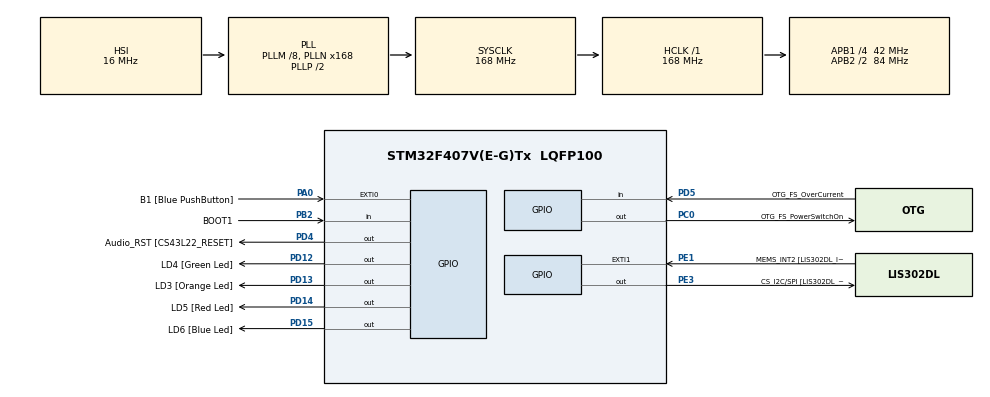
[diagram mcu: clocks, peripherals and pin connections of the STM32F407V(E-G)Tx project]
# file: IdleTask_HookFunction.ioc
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Mcu.Family=STM32F4
Mcu.Name=STM32F407V(E-G)Tx
Mcu.Package=LQFP100
NVIC.PriorityGroup=NVIC_PRIORITYGROUP_4
NVIC.TIM6_DAC_IRQn=true\:0\:0\:false\:false\:true\:false\:true
NVIC.TimeBase=TIM6_DAC_IRQn
NVIC.TimeBaseIP=TIM6
PA0-WKUP.GPIO_Label=B1 [Blue PushButton]
PA0-WKUP.GPIO_ModeDefaultEXTI=GPIO_MODE_EVT_RISING
PA0-WKUP.GPIO_PuPd=GPIO_NOPULL
PA0-WKUP.Signal=GPXTI0
PA10.GPIO_Label=OTG_FS_ID
PA10.GPIO_Mode=GPIO_MODE_AF_PP
PA10.GPIO_PuPd=GPIO_NOPULL
PA10.GPIO_Speed=GPIO_SPEED_FREQ_LOW
PA10.Signal=USB_OTG_FS_ID
PA11.GPIO_Label=OTG_FS_DM
PA11.GPIO_Mode=GPIO_MODE_AF_PP
PA11.GPIO_PuPd=GPIO_NOPULL
PA11.GPIO_Speed=GPIO_SPEED_FREQ_LOW
PA11.Signal=USB_OTG_FS_DM
PA12.GPIO_Label=OTG_FS_DP
PA12.GPIO_Mode=GPIO_MODE_AF_PP
PA12.GPIO_PuPd=GPIO_NOPULL
PA12.GPIO_Speed=GPIO_SPEED_FREQ_LOW
PA12.Signal=USB_OTG_FS_DP
PA13.GPIO_Label=SWDIO
PA13.Signal=SYS_JTMS-SWDIO
PA14.GPIO_Label=SWCLK
PA14.Signal=SYS_JTCK-SWCLK
PA4.GPIO_Label=I2S3_WS [CS43L22_LRCK]
PA4.GPIO_Mode=GPIO_MODE_AF_PP
PA4.GPIO_PuPd=GPIO_NOPULL
PA4.GPIO_Speed=GPIO_SPEED_FREQ_LOW
PA4.Signal=I2S3_WS
PA5.GPIO_Label=SPI1_SCK [LIS302DL_SCL/SPC]
PA5.GPIO_Mode=GPIO_MODE_AF_PP
PA5.GPIO_PuPd=GPIO_NOPULL
PA5.GPIO_Speed=GPIO_SPEED_FREQ_LOW
PA5.Signal=SPI1_SCK
PA6.GPIO_Label=SPI1_MISO [LIS302DL_SDO]
PA6.GPIO_Mode=GPIO_MODE_AF_PP
PA6.GPIO_PuPd=GPIO_NOPULL
PA6.GPIO_Speed=GPIO_SPEED_FREQ_LOW
PA6.Signal=SPI1_MISO
PA7.GPIO_Label=SPI1_MOSI [LIS302DL_SDA/SDI/SDO]
PA7.GPIO_Mode=GPIO_MODE_AF_PP
PA7.GPIO_PuPd=GPIO_NOPULL
PA7.GPIO_Speed=GPIO_SPEED_FREQ_LOW
PA7.Signal=SPI1_MOSI
PA9.GPIO_Label=VBUS_FS
PA9.GPIO_Mode=GPIO_MODE_INPUT
PA9.GPIO_PuPd=GPIO_NOPULL
PA9.Signal=USB_OTG_FS_VBUS
PB10.GPIO_Label=CLK_IN [MP45DT02_CLK]
PB10.GPIO_Mode=GPIO_MODE_AF_PP
PB10.GPIO_PuPd=GPIO_NOPULL
PB10.GPIO_Speed=GPIO_SPEED_FREQ_LOW
PB10.Signal=I2S2_CK
PB2.GPIO_Label=BOOT1
PB2.GPIO_Mode=GPIO_MODE_INPUT
PB2.GPIO_PuPd=GPIO_NOPULL
PB2.Signal=GPIO_Input
PB3.GPIO_Label=SWO
PB3.Signal=SYS_JTDO-SWO
PB6.GPIO_Label=Audio_SCL [CS43L22_SCL]
PB6.GPIO_Mode=GPIO_MODE_AF_OD
PB6.GPIO_PuPd=GPIO_NOPULL
PB6.GPIO_Speed=GPIO_SPEED_FREQ_LOW
PB6.Signal=I2C1_SCL
PB9.GPIO_Label=Audio_SDA [CS43L22_SDA]
PB9.GPIO_Mode=GPIO_MODE_AF_OD
PB9.GPIO_PuPd=GPIO_NOPULL
PB9.GPIO_Speed=GPIO_SPEED_FREQ_LOW
PB9.Signal=I2C1_SDA
PC0.GPIO_Label=OTG_FS_PowerSwitchOn
PC0.GPIO_PuPd=GPIO_NOPULL
PC0.GPIO_Speed=GPIO_SPEED_FREQ_LOW
PC0.PinState=GPIO_PIN_SET
PC0.Signal=GPIO_Output
PC10.GPIO_Label=I2S3_SCK [CS43L22_SCLK]
PC10.GPIO_Mode=GPIO_MODE_AF_PP
PC10.GPIO_PuPd=GPIO_NOPULL
PC10.GPIO_Speed=GPIO_SPEED_FREQ_LOW
PC10.Signal=I2S3_CK
PC12.GPIO_Label=I2S3_SD [CS43L22_SDIN]
PC12.GPIO_Mode=GPIO_MODE_AF_PP
PC12.GPIO_PuPd=GPIO_NOPULL
PC12.GPIO_Speed=GPIO_SPEED_FREQ_LOW
PC12.Signal=I2S3_SD
PC14-OSC32_IN.GPIO_Label=PC14-OSC32_IN
PC14-OSC32_IN.Signal=RCC_OSC32_IN
PC15-OSC32_OUT.GPIO_Label=PC15-OSC32_OUT
PC15-OSC32_OUT.Signal=RCC_OSC32_OUT
PC3.GPIO_Label=PDM_OUT [MP45DT02_DOUT]
PC3.GPIO_Mode=GPIO_MODE_AF_PP
PC3.GPIO_PuPd=GPIO_NOPULL
PC3.GPIO_Speed=GPIO_SPEED_FREQ_LOW
PC3.Signal=I2S2_SD
PC7.GPIO_Label=I2S3_MCK [CS43L22_MCLK]
PC7.GPIO_Mode=GPIO_MODE_AF_PP
PC7.GPIO_PuPd=GPIO_NOPULL
PC7.GPIO_Speed=GPIO_SPEED_FREQ_LOW
PC7.Signal=I2S3_MCK
PD12.GPIO_Label=LD4 [Green Led]
PD12.GPIO_PuPd=GPIO_NOPULL
PD12.GPIO_Speed=GPIO_SPEED_FREQ_LOW
PD12.Signal=GPIO_Output
PD13.GPIO_Label=LD3 [Orange Led]
PD13.GPIO_PuPd=GPIO_NOPULL
PD13.GPIO_Speed=GPIO_SPEED_FREQ_LOW
PD13.Signal=GPIO_Output
PD14.GPIO_Label=LD5 [Red Led]
PD14.GPIO_PuPd=GPIO_NOPULL
PD14.GPIO_Speed=GPIO_SPEED_FREQ_LOW
PD14.Signal=GPIO_Output
PD15.GPIO_Label=LD6 [Blue Led]
PD15.GPIO_PuPd=GPIO_NOPULL
PD15.GPIO_Speed=GPIO_SPEED_FREQ_LOW
PD15.Signal=GPIO_Output
PD4.GPIO_Label=Audio_RST [CS43L22_RESET]
PD4.GPIO_PuPd=GPIO_NOPULL
PD4.GPIO_Speed=GPIO_SPEED_FREQ_LOW
PD4.Signal=GPIO_Output
PD5.GPIO_Label=OTG_FS_OverCurrent
PD5.GPIO_Mode=GPIO_MODE_INPUT
PD5.GPIO_PuPd=GPIO_NOPULL
PD5.Signal=GPIO_Input
PE1.GPIO_Label=MEMS_INT2 [LIS302DL_INT2]
PE1.GPIO_ModeDefaultEXTI=GPIO_MODE_EVT_RISING
PE1.GPIO_PuPd=GPIO_NOPULL
PE1.Signal=GPXTI1
PE3.GPIO_Label=CS_I2C/SPI [LIS302DL_CS_I2C/SPI]
PE3.GPIO_PuPd=GPIO_NOPULL
PE3.GPIO_Speed=GPIO_SPEED_FREQ_LOW
PE3.Signal=GPIO_Output
PH0-OSC_IN.GPIO_Label=PH0-OSC_IN
PH0-OSC_IN.Signal=RCC_OSC_IN
PH1-OSC_OUT.GPIO_Label=PH1-OSC_OUT
PH1-OSC_OUT.Signal=RCC_OSC_OUT
ProjectManager.HeapSize=0x200
ProjectManager.StackSize=0x400
ProjectManager.TargetToolchain=STM32CubeIDE
RCC.48MHZClocksFreq_Value=48000000
RCC.AHBFreq_Value=168000000
RCC.APB1CLKDivider=RCC_HCLK_DIV4
RCC.APB1Freq_Value=42000000
RCC.APB1TimFreq_Value=84000000
RCC.APB2CLKDivider=RCC_HCLK_DIV2
RCC.APB2Freq_Value=84000000
RCC.APB2TimFreq_Value=168000000
RCC.CortexFreq_Value=168000000
RCC.HCLKFreq_Value=168000000
RCC.HSE_VALUE=8000000
RCC.HSI_VALUE=16000000
RCC.LSE_VALUE=32768
RCC.PLLM=8
RCC.PLLN=168
RCC.PLLQ=7
RCC.SYSCLKFreq_VALUE=168000000
RCC.SYSCLKSource=RCC_SYSCLKSOURCE_PLLCLK
RCC.VCOOutputFreq_Value=336000000
VP_SYS_VS_tim6.Mode=TIM6
board=STM32F4DISCOVERY

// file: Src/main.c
/* USER CODE BEGIN Header */
/**
  ******************************************************************************
  * @file           : main.c
  * @brief          : Main program body
  ******************************************************************************
  * @attention
  *
  * <h2><center>&copy; Copyright (c) 2024 STMicroelectronics.
  * All rights reserved.</center></h2>
  *
  * This software component is licensed by ST under BSD 3-Clause license,
  * the "License"; You may not use this file except in compliance with the
  * License. You may obtain a copy of the License at:
  *                        opensource.org/licenses/BSD-3-Clause
  *
  ******************************************************************************
  */
/* USER CODE END Header */

#include "main.h"

/* USER CODE BEGIN Includes */
#include "FreeRTOS.h"
#include "task.h"
/* USER CODE END Includes */

/* USER CODE BEGIN PV */
#define DWT_CTRL    (*(volatile uint32_t*)0xE0001000)
/* USER CODE END PV */

void SystemClock_Config(void);
static void MX_GPIO_Init(void);
/* USER CODE BEGIN PFP */
static void led_green_handler(void *parameters);
static void led_red_handler(void *parameters);
static void led_orange_handler(void *parameters);

extern void SEGGER_UART_init(uint32_t);
/* USER CODE END PFP */

int main(void)
{
  /* USER CODE BEGIN 1 */
	TaskHandle_t task1_handle;
  TaskHandle_t task2_handle;
  TaskHandle_t task3_handle;

  BaseType_t status;
  /* USER CODE END 1 */

  /* MCU Configuration--------------------------------------------------------*/

  /* Reset of all peripherals, Initializes the Flash interface and the Systick. */
  HAL_Init();

  /* Configure the system clock */
  SystemClock_Config();

  /* Initialize all configured peripherals */
  MX_GPIO_Init();
  /* USER CODE BEGIN 2 */
  SEGGER_UART_init(500000);

  //CYCLCNT enable
   DWT_CTRL |= ( 1 << 0);

   SEGGER_SYSVIEW_Conf();

//   SEGGER_SYSVIEW_Start();

	status = xTaskCreate(led_green_handler, "LED_green_task", 200, NULL, 2, &task1_handle);
  configASSERT(status == pdPASS);

  status = xTaskCreate(led_red_handler, "LED_red_task", 200, NULL, 2, &task2_handle);
  configASSERT(status == pdPASS);

  status = xTaskCreate(led_orange_handler, "LED_orange_task", 200, NULL, 2, &task3_handle);
  configASSERT(status == pdPASS);

  // Start the FreeRTOS scheduler
  vTaskStartScheduler();
  /* USER CODE END 2 */

  /* Infinite loop */
  while (1)
  {

  }
}

void SystemClock_Config(void)
{
  RCC_OscInitTypeDef RCC_OscInitStruct = {0};
  RCC_ClkInitTypeDef RCC_ClkInitStruct = {0};

  /** Configure the main internal regulator output voltage
  */
  __HAL_RCC_PWR_CLK_ENABLE();
  __HAL_PWR_VOLTAGESCALING_CONFIG(PWR_REGULATOR_VOLTAGE_SCALE1);
  /** Initializes the CPU, AHB and APB busses clocks
  */
  RCC_OscInitStruct.OscillatorType = RCC_OSCILLATORTYPE_HSI;
  RCC_OscInitStruct.HSIState = RCC_HSI_ON;
  RCC_OscInitStruct.HSICalibrationValue = RCC_HSICALIBRATION_DEFAULT;
  RCC_OscInitStruct.PLL.PLLState = RCC_PLL_ON;
  RCC_OscInitStruct.PLL.PLLSource = RCC_PLLSOURCE_HSI;
  RCC_OscInitStruct.PLL.PLLM = 8;
  RCC_OscInitStruct.PLL.PLLN = 168;
  RCC_OscInitStruct.PLL.PLLP = RCC_PLLP_DIV2;
  RCC_OscInitStruct.PLL.PLLQ = 7;
  if (HAL_RCC_OscConfig(&RCC_OscInitStruct) != HAL_OK)
  {
    Error_Handler();
  }
  /** Initializes the CPU, AHB and APB busses clocks
  */
  RCC_ClkInitStruct.ClockType = RCC_CLOCKTYPE_HCLK|RCC_CLOCKTYPE_SYSCLK
                              |RCC_CLOCKTYPE_PCLK1|RCC_CLOCKTYPE_PCLK2;
  RCC_ClkInitStruct.SYSCLKSource = RCC_SYSCLKSOURCE_PLLCLK;
  RCC_ClkInitStruct.AHBCLKDivider = RCC_SYSCLK_DIV1;
  RCC_ClkInitStruct.APB1CLKDivider = RCC_HCLK_DIV4;
  RCC_ClkInitStruct.APB2CLKDivider = RCC_HCLK_DIV2;

  if (HAL_RCC_ClockConfig(&RCC_ClkInitStruct, FLASH_LATENCY_5) != HAL_OK)
  {
    Error_Handler();
  }
}

static void MX_GPIO_Init(void)
{
  GPIO_InitTypeDef GPIO_InitStruct = {0};

  /* GPIO Ports Clock Enable */
  __HAL_RCC_GPIOE_CLK_ENABLE();
  __HAL_RCC_GPIOC_CLK_ENABLE();
  __HAL_RCC_GPIOH_CLK_ENABLE();
  __HAL_RCC_GPIOA_CLK_ENABLE();
  __HAL_RCC_GPIOB_CLK_ENABLE();
  __HAL_RCC_GPIOD_CLK_ENABLE();

  /*Configure GPIO pin Output Level */
  HAL_GPIO_WritePin(CS_I2C_SPI_GPIO_Port, CS_I2C_SPI_Pin, GPIO_PIN_RESET);

  /*Configure GPIO pin Output Level */
  HAL_GPIO_WritePin(OTG_FS_PowerSwitchOn_GPIO_Port, OTG_FS_PowerSwitchOn_Pin, GPIO_PIN_SET);

  /*Configure GPIO pin Output Level */
  HAL_GPIO_WritePin(GPIOD, LD4_Pin|LD3_Pin|LD5_Pin|LD6_Pin
                          |Audio_RST_Pin, GPIO_PIN_RESET);

  /*Configure GPIO pin : CS_I2C_SPI_Pin */
  GPIO_InitStruct.Pin = CS_I2C_SPI_Pin;
  GPIO_InitStruct.Mode = GPIO_MODE_OUTPUT_PP;
  GPIO_InitStruct.Pull = GPIO_NOPULL;
  GPIO_InitStruct.Speed = GPIO_SPEED_FREQ_LOW;
  HAL_GPIO_Init(CS_I2C_SPI_GPIO_Port, &GPIO_InitStruct);

  /*Configure GPIO pin : OTG_FS_PowerSwitchOn_Pin */
  GPIO_InitStruct.Pin = OTG_FS_PowerSwitchOn_Pin;
  GPIO_InitStruct.Mode = GPIO_MODE_OUTPUT_PP;
  GPIO_InitStruct.Pull = GPIO_NOPULL;
  GPIO_InitStruct.Speed = GPIO_SPEED_FREQ_LOW;
  HAL_GPIO_Init(OTG_FS_PowerSwitchOn_GPIO_Port, &GPIO_InitStruct);

  /*Configure GPIO pin : PDM_OUT_Pin */
  GPIO_InitStruct.Pin = PDM_OUT_Pin;
  GPIO_InitStruct.Mode = GPIO_MODE_AF_PP;
  GPIO_InitStruct.Pull = GPIO_NOPULL;
  GPIO_InitStruct.Speed = GPIO_SPEED_FREQ_LOW;
  GPIO_InitStruct.Alternate = GPIO_AF5_SPI2;
  HAL_GPIO_Init(PDM_OUT_GPIO_Port, &GPIO_InitStruct);

  /*Configure GPIO pin : B1_Pin */
  GPIO_InitStruct.Pin = B1_Pin;
  GPIO_InitStruct.Mode = GPIO_MODE_EVT_RISING;
  GPIO_InitStruct.Pull = GPIO_NOPULL;
  HAL_GPIO_Init(B1_GPIO_Port, &GPIO_InitStruct);

  /*Configure GPIO pin : I2S3_WS_Pin */
  GPIO_InitStruct.Pin = I2S3_WS_Pin;
  GPIO_InitStruct.Mode = GPIO_MODE_AF_PP;
  GPIO_InitStruct.Pull = GPIO_NOPULL;
  GPIO_InitStruct.Speed = GPIO_SPEED_FREQ_LOW;
  GPIO_InitStruct.Alternate = GPIO_AF6_SPI3;
  HAL_GPIO_Init(I2S3_WS_GPIO_Port, &GPIO_InitStruct);

  /*Configure GPIO pins : SPI1_SCK_Pin SPI1_MISO_Pin SPI1_MOSI_Pin */
  GPIO_InitStruct.Pin = SPI1_SCK_Pin|SPI1_MISO_Pin|SPI1_MOSI_Pin;
  GPIO_InitStruct.Mode = GPIO_MODE_AF_PP;
  GPIO_InitStruct.Pull = GPIO_NOPULL;
  GPIO_InitStruct.Speed = GPIO_SPEED_FREQ_LOW;
  GPIO_InitStruct.Alternate = GPIO_AF5_SPI1;
  HAL_GPIO_Init(GPIOA, &GPIO_InitStruct);

  /*Configure GPIO pin : BOOT1_Pin */
  GPIO_InitStruct.Pin = BOOT1_Pin;
  GPIO_InitStruct.Mode = GPIO_MODE_INPUT;
  GPIO_InitStruct.Pull = GPIO_NOPULL;
  HAL_GPIO_Init(BOOT1_GPIO_Port, &GPIO_InitStruct);

  /*Configure GPIO pin : CLK_IN_Pin */
  GPIO_InitStruct.Pin = CLK_IN_Pin;
  GPIO_InitStruct.Mode = GPIO_MODE_AF_PP;
  GPIO_InitStruct.Pull = GPIO_NOPULL;
  GPIO_InitStruct.Speed = GPIO_SPEED_FREQ_LOW;
  GPIO_InitStruct.Alternate = GPIO_AF5_SPI2;
  HAL_GPIO_Init(CLK_IN_GPIO_Port, &GPIO_InitStruct);

  /*Configure GPIO pins : LD4_Pin LD3_Pin LD5_Pin LD6_Pin
                           Audio_RST_Pin */
  GPIO_InitStruct.Pin = LD4_Pin|LD3_Pin|LD5_Pin|LD6_Pin
                          |Audio_RST_Pin;
  GPIO_InitStruct.Mode = GPIO_MODE_OUTPUT_PP;
  GPIO_InitStruct.Pull = GPIO_NOPULL;
  GPIO_InitStruct.Speed = GPIO_SPEED_FREQ_LOW;
  HAL_GPIO_Init(GPIOD, &GPIO_InitStruct);

  /*Configure GPIO pins : I2S3_MCK_Pin I2S3_SCK_Pin I2S3_SD_Pin */
  GPIO_InitStruct.Pin = I2S3_MCK_Pin|I2S3_SCK_Pin|I2S3_SD_Pin;
  GPIO_InitStruct.Mode = GPIO_MODE_AF_PP;
  GPIO_InitStruct.Pull = GPIO_NOPULL;
  GPIO_InitStruct.Speed = GPIO_SPEED_FREQ_LOW;
  GPIO_InitStruct.Alternate = GPIO_AF6_SPI3;
  HAL_GPIO_Init(GPIOC, &GPIO_InitStruct);

  /*Configure GPIO pin : VBUS_FS_Pin */
  GPIO_InitStruct.Pin = VBUS_FS_Pin;
  GPIO_InitStruct.Mode = GPIO_MODE_INPUT;
  GPIO_InitStruct.Pull = GPIO_NOPULL;
  HAL_GPIO_Init(VBUS_FS_GPIO_Port, &GPIO_InitStruct);

  /*Configure GPIO pins : OTG_FS_ID_Pin OTG_FS_DM_Pin OTG_FS_DP_Pin */
  GPIO_InitStruct.Pin = OTG_FS_ID_Pin|OTG_FS_DM_Pin|OTG_FS_DP_Pin;
  GPIO_InitStruct.Mode = GPIO_MODE_AF_PP;
  GPIO_InitStruct.Pull = GPIO_NOPULL;
  GPIO_InitStruct.Speed = GPIO_SPEED_FREQ_LOW;
  GPIO_InitStruct.Alternate = GPIO_AF10_OTG_FS;
  HAL_GPIO_Init(GPIOA, &GPIO_InitStruct);

  /*Configure GPIO pin : OTG_FS_OverCurrent_Pin */
  GPIO_InitStruct.Pin = OTG_FS_OverCurrent_Pin;
  GPIO_InitStruct.Mode = GPIO_MODE_INPUT;
  GPIO_InitStruct.Pull = GPIO_NOPULL;
  HAL_GPIO_Init(OTG_FS_OverCurrent_GPIO_Port, &GPIO_InitStruct);

  /*Configure GPIO pins : Audio_SCL_Pin Audio_SDA_Pin */
  GPIO_InitStruct.Pin = Audio_SCL_Pin|Audio_SDA_Pin;
  GPIO_InitStruct.Mode = GPIO_MODE_AF_OD;
  GPIO_InitStruct.Pull = GPIO_PULLUP;
  GPIO_InitStruct.Speed = GPIO_SPEED_FREQ_LOW;
  GPIO_InitStruct.Alternate = GPIO_AF4_I2C1;
  HAL_GPIO_Init(GPIOB, &GPIO_InitStruct);

  /*Configure GPIO pin : MEMS_INT2_Pin */
  GPIO_InitStruct.Pin = MEMS_INT2_Pin;
  GPIO_InitStruct.Mode = GPIO_MODE_EVT_RISING;
  GPIO_InitStruct.Pull = GPIO_NOPULL;
  HAL_GPIO_Init(MEMS_INT2_GPIO_Port, &GPIO_InitStruct);

}

/* USER CODE BEGIN 4 */
static void led_green_handler(void *parameters)
{
	while (1)
		{
			HAL_GPIO_TogglePin(GPIOD, LED_GREEN_PIN);
			//HAL_Delay(1000);
			vTaskDelay(pdMS_TO_TICKS(1000));
		}
}

static void led_red_handler(void *parameters)
{
	while (1)
		{
			HAL_GPIO_TogglePin(GPIOD, LED_RED_PIN);
			vTaskDelay(pdMS_TO_TICKS(400));
		}
}

static void led_orange_handler(void *parameters)
{
	while (1)
		{
			HAL_GPIO_TogglePin(GPIOD, LED_ORANGE_PIN);
			vTaskDelay(pdMS_TO_TICKS(800));
		}
}

void vApplicationIdleHook (void)
{
	HAL_PWR_EnterSLEEPMode(PWR_MAINREGULATOR_ON, PWR_SLEEPENTRY_WFI);
}

/* USER CODE END 4 */

void HAL_TIM_PeriodElapsedCallback(TIM_HandleTypeDef *htim)
{
  if (htim->Instance == TIM6) {
    HAL_IncTick();
  }
}

void Error_Handler(void)
{
}

/************************ (C) COPYRIGHT STMicroelectronics *****END OF FILE****/
